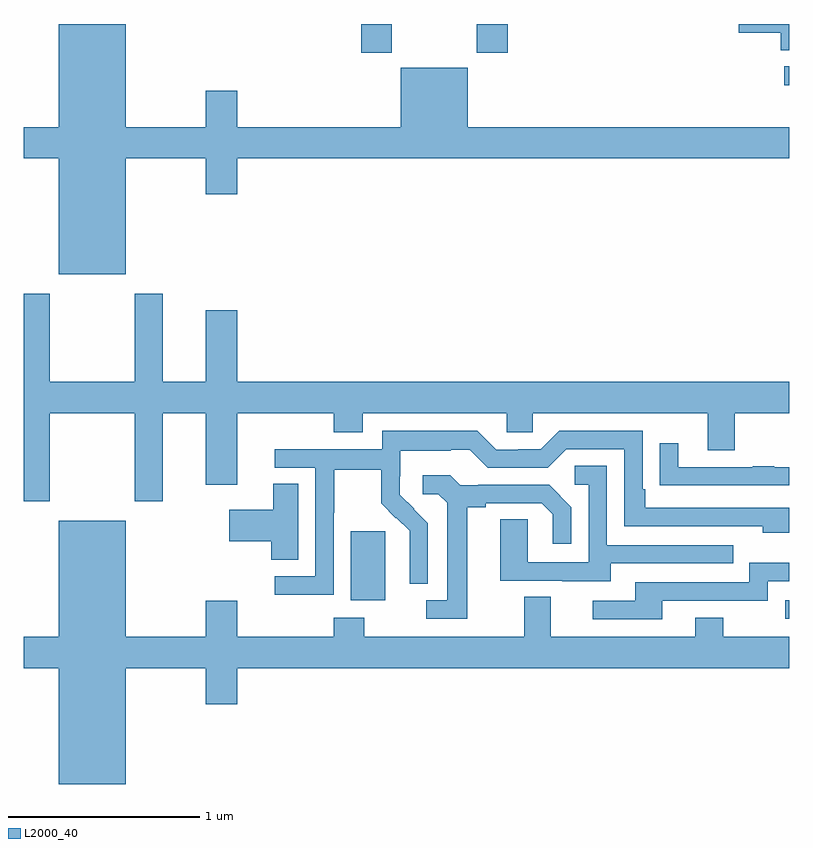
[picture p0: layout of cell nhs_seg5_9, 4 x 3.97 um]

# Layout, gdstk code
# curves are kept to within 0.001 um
import gdstk
lib = gdstk.Library(unit=1e-6, precision=1e-09)
def R(c, l, rs):  # rectangles x0, y0, x1, y1
    for r in rs: c.add(gdstk.rectangle(r[:2], r[2:], *l))
def P(c, l, *ps):  # polygons
    for p in ps: c.add(gdstk.Polygon(p, *l))
L2000_40 = (2000, 40)

nhs_seg5_9 = lib.new_cell('nhs_seg5_9')
R(nhs_seg5_9, L2000_40, [(114.981,851.691,115,851.787), (112.709,851.786,112.888,852.147), (114.975,854.479,115,854.577), (112.763,854.649,112.923,854.799), (113.368,854.649,113.528,854.799)])
P(nhs_seg5_9, L2000_40, [(115,854.799),(114.738,854.799),(114.738,854.753),(114.956,854.753),(114.956,854.662),(115,854.662)],
  [(111.532,854.096),(111.95,854.096),(111.95,853.908),(112.114,853.908),(112.114,854.096),(115,854.096),(115,854.26),(113.32,854.26),(113.32,854.569),(112.97,854.569),(112.97,854.26),(112.114,854.26),(112.114,854.449),(111.95,854.449),(111.95,854.26),(111.532,854.26),(111.532,854.799),(111.182,854.799),(111.182,854.26),(111,854.26),(111,854.096),(111.182,854.096),(111.182,853.49),(111.532,853.49)],
  [(111.135,852.764),(111.58,852.764),(111.58,852.303),(111.727,852.303),(111.727,852.764),(111.95,852.764),(111.95,852.39),(112.114,852.39),(112.114,852.764),(112.619,852.764),(112.619,852.665),(112.771,852.665),(112.771,852.764),(113.523,852.764),(113.523,852.666),(113.661,852.666),(113.661,852.764),(114.575,852.764),(114.575,852.57),(114.715,852.57),(114.715,852.764),(115,852.764),(115,852.928),(112.114,852.928),(112.114,853.303),(111.95,853.303),(111.95,852.928),(111.727,852.928),(111.727,853.39),(111.58,853.39),(111.58,852.928),(111.135,852.928),(111.135,853.39),(111,853.39),(111,852.303),(111.135,852.303)],
  [(112.62,852.244),(112.623,852.244),(112.623,852.468),(112.867,852.468),(112.867,852.293),(112.944,852.216),(112.947,852.219),(113.018,852.149),(113.018,852.026),(113.016,852.026),(113.016,851.872),(113.112,851.872),(113.112,852.19),(112.966,852.338),(112.966,852.435),(112.968,852.435),(112.968,852.569),(113.231,852.569),(113.231,852.573),(113.331,852.573),(113.424,852.48),(113.739,852.48),(113.835,852.576),(114.138,852.576),(114.138,852.174),(114.863,852.174),(114.863,852.14),(115,852.14),(115,852.27),(114.247,852.27),(114.247,852.367),(114.234,852.367),(114.234,852.672),(113.799,852.672),(113.703,852.576),(113.585,852.576),(113.585,852.573),(113.469,852.573),(113.369,852.673),(112.872,852.673),(112.872,852.576),(112.311,852.576),(112.311,852.48),(112.524,852.48),(112.524,851.913),(112.311,851.913),(112.311,851.815),(112.62,851.815)],
  [(115,852.483),(114.923,852.483),(114.923,852.488),(114.811,852.488),(114.811,852.483),(114.421,852.483),(114.421,852.607),(114.325,852.607),(114.325,852.388),(114.427,852.388),(114.427,852.387),(115,852.387)],
  [(114.067,851.979),(114.707,851.979),(114.707,852.075),(114.048,852.075),(114.048,852.491),(113.88,852.491),(113.88,852.39),(113.952,852.39),(113.952,851.985),(113.634,851.985),(113.634,852.209),(113.489,852.209),(113.489,851.889),(113.813,851.889),(113.813,851.885),(114.067,851.885)],
  [(113.317,852.272),(113.413,852.272),(113.413,852.294),(113.708,852.294),(113.765,852.237),(113.765,852.081),(113.862,852.081),(113.862,852.274),(113.746,852.39),(113.374,852.39),(113.374,852.387),(113.28,852.387),(113.228,852.439),(113.085,852.439),(113.085,852.342),(113.166,852.342),(113.213,852.295),(113.213,851.787),(113.103,851.787),(113.103,851.691),(113.317,851.691)],
  [(112.435,852.395),(112.304,852.395),(112.304,852.259),(112.074,852.259),(112.074,852.094),(112.292,852.094),(112.292,851.998),(112.435,851.998)],
  [(111.532,851.432),(111.95,851.432),(111.95,851.244),(112.114,851.244),(112.114,851.432),(115,851.432),(115,851.596),(114.657,851.596),(114.657,851.695),(114.509,851.695),(114.509,851.596),(113.755,851.596),(113.755,851.804),(113.615,851.804),(113.615,851.596),(112.779,851.596),(112.779,851.695),(112.619,851.695),(112.619,851.596),(112.114,851.596),(112.114,851.785),(111.95,851.785),(111.95,851.596),(111.532,851.596),(111.532,852.202),(111.182,852.202),(111.182,851.596),(111,851.596),(111,851.432),(111.182,851.432),(111.182,850.826),(111.532,850.826)],
  [(114.337,851.784),(114.888,851.784),(114.888,851.886),(115,851.886),(115,851.983),(114.792,851.983),(114.792,851.88),(114.197,851.88),(114.197,851.784),(113.973,851.784),(113.973,851.688),(114.337,851.688)])

lib.write_gds('nhs_seg5_9.gds')
